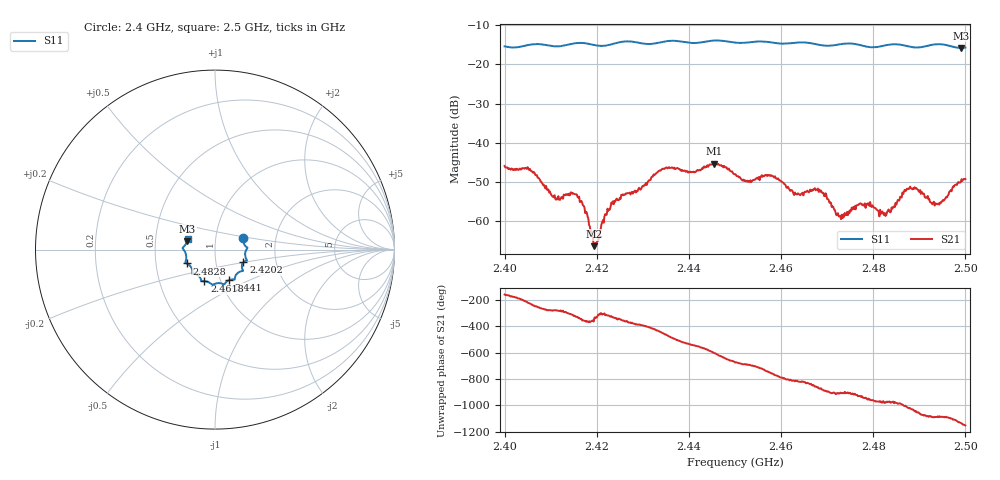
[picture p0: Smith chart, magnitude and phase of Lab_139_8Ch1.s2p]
# Hz S RI R
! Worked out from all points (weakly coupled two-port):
!   601 points, 2.4 GHz to 2.5 GHz, reference 50 ohm
!   highest |S21| = -45.28 dB at 2.4455 GHz (marker M1); lowest = -66.3 dB at 2.4193 GHz (marker M2)
!   lowest |S11| = -15.8 dB at 2.499 GHz (marker M3), VSWR 1.39, Z = 36.5 + j3.49 ohm
!   |S11| at or under -10 dB: start of sweep to end of sweep
!   S12 and S22 are empty: the file has one direction only
!   S11 on the Smith chart (normalised r, x): 2.4 GHz: 1.36, +0.18; 2.4202 GHz: 1.36, -0.20; 2.441 GHz: 1.10, -0.39; 2.4618 GHz: 0.84, -0.30; 2.4828 GHz: 0.72, -0.11; 2.5 GHz: 0.73, +0.09
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2.4e9  0.1575 0.063  -0.00481 -0.00162  0 0  0 0
2.405e9  0.1753 0.0145  -0.00365 0.00326  0 0  0 0
2.410667e9  0.1694 -0.0128  0.000441 0.00198  0 0  0 0
2.416667e9  0.1777 -0.0601  0.00177 0.000428  0 0  0 0
2.419333e9  0.164 -0.0657  0.000481 -4.32e-05  0 0  0 0
2.420167e9  0.1583 -0.0707  0.000455 0.000321  0 0  0 0
2.423667e9  0.1509 -0.1039  0.00148 0.000729  0 0  0 0
2.433333e9  0.1122 -0.1508  0.00107 -0.00417  0 0  0 0
2.441e9  0.0785 -0.1696  -0.00429 0.000411  0 0  0 0
2.4455e9  0.0518 -0.1944  -0.00234 0.00492  0 0  0 0
2.45e9  0.0285 -0.1872  0.00278 0.00287  0 0  0 0
2.457667e9  -0.0227 -0.1899  0.00317 -0.00207  0 0  0 0
2.461833e9  -0.0592 -0.1757  3.03e-06 -0.00253  0 0  0 0
2.466667e9  -0.0779 -0.1681  -0.00141 -0.00208  0 0  0 0
2.472833e9  -0.1195 -0.1352  -0.00117 8.28e-05  0 0  0 0
2.477e9  -0.1258 -0.1243  -0.00146 0.000766  0 0  0 0
2.482833e9  -0.1577 -0.0773  -0.000284 0.00117  0 0  0 0
2.483333e9  -0.1609 -0.0759  -0.000423 0.00135  0 0  0 0
2.487667e9  -0.1607 -0.0532  0.00128 0.00228  0 0  0 0
2.493833e9  -0.1805 0.00766  0.00164 -0.000211  0 0  0 0
2.499e9  -0.1548 0.0466  0.00191 -0.00251  0 0  0 0
2.5e9  -0.1517 0.0611  0.00113 -0.00328  0 0  0 0
